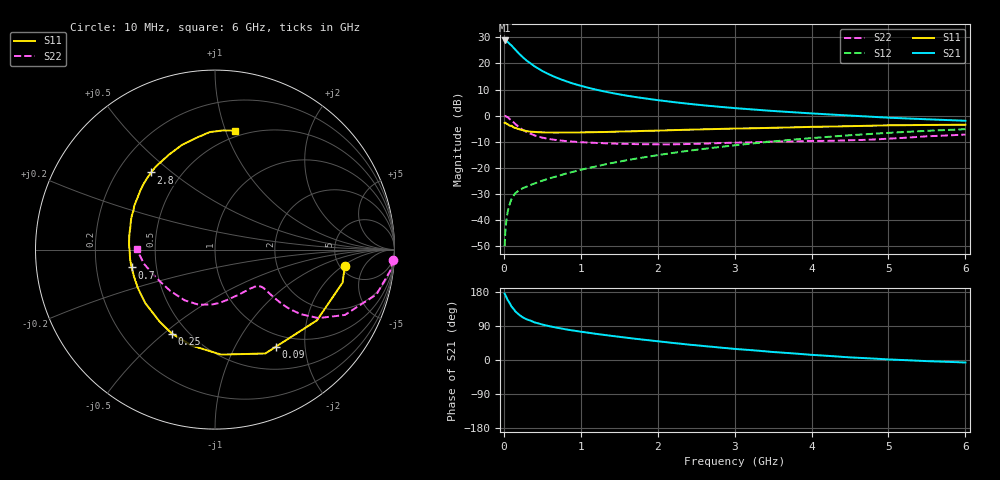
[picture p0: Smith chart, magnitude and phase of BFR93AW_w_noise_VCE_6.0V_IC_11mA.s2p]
! Infineon Technologies  Discrete & RF Semiconductors
! BFR93AW
! VCE =  6.0 V,  IC =  11 mA
! Common Emitter S-Parameters:  Jan 2017
# GHz  S  MA  R  50
!  f  S11  S21  S12  S22
! GHz  MAG  ANG  MAG  ANG  MAG  ANG  MAG  ANG
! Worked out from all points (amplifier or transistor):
!   77 points, 10 MHz to 6 GHz, reference 50 ohm
!   highest |S21| = 28.8 dB at 10 MHz (marker M1)
!   |S21| within 3 dB of that: start of sweep to 132.9 MHz
!   unconditionally stable (mu >= 1): 837.7 MHz to 2.099 GHz
!   at 130 MHz: K = 0.32, MSG = 28.1 dB, |S12| = -30.4 dB
!   at 2.2 GHz: K = 0.99, MSG = 9.7 dB, |S12| = -14.2 dB
!   at 6 GHz: K = 0.87, MSG = 1.6 dB, |S12| = -5.2 dB
!   lowest NFmin = 1.26 dB at 450 MHz
!   S11 on the Smith chart (normalised r, x): 10 MHz: 5.50, -2.18; 90 MHz: 0.81, -1.48; 250 MHz: 0.41, -0.53; 700 MHz: 0.36, -0.09; 2.8 GHz: 0.34, +0.43; 6 GHz: 0.45, +1.08
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0.01  0.7294 -7.3  27.45 175.3  0.0032 86.9  0.9927 -3.2
0.02  0.7342 -14.5  27.41 171.1  0.0063 89.1  0.9855 -6.6
0.05  0.6913 -34.8  25.81 158.3  0.0146 72.5  0.9338 -15.5
0.09  0.6386 -58.1  22.58 144.8  0.0234 64.5  0.8322 -24.2
0.1  0.6431 -64.2  22.01 140.9  0.0256 63.4  0.8102 -26.7
0.15  0.5858 -86.7  18.27 128.2  0.0331 57.2  0.6911 -33.5
0.2  0.5499 -103.9  15.24 119.1  0.0375 54.6  0.6002 -36.9
0.25  0.5262 -117.1  12.97 112.1  0.0414 52.1  0.5332 -38.5
0.3  0.5064 -127.5  11.19 107.0  0.0442 52.1  0.482 -39.1
0.4  0.4897 -142.4  8.768 99.2  0.0507 53.4  0.419 -39.1
0.5  0.4804 -153.2  7.152 93.5  0.0572 55.2  0.3802 -38.7
0.6  0.4756 -161.5  6.048 88.8  0.0638 57.6  0.3558 -38.4
0.7  0.4753 -167.9  5.224 84.9  0.07 59.6  0.3398 -38.4
0.9  0.4755 -178.5  4.111 77.8  0.0846 61.9  0.3192 -39.7
1.1  0.4819 173.2  3.415 71.9  0.1001 63.8  0.307 -42.0
1.5  0.4971 160.1  2.558 61.2  0.1323 65.1  0.2905 -49.5
2.1  0.5234 144.4  1.902 47.3  0.1851 64.2  0.2832 -65.7
2.8  0.558 129.6  1.481 33.0  0.2513 60.2  0.2995 -86.8
3.1  0.5705 123.7  1.362 27.8  0.2812 57.7  0.3069 -95.3
4.1  0.6148 105.8  1.085 12.4  0.3828 48.1  0.3289 -124.2
5.1  0.6566 91.3  0.903 0.6  0.4786 36.6  0.3698 -157.6
6  0.6723 80.3  0.8 -6.6  0.5522 25.7  0.4363 179.6
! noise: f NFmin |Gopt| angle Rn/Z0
0.45  1.26  0.12  111  0.13
0.9  1.57  0.23  157  0.14
1.9  2.62  0.47  -146  0.18
2.4  3.24  0.54  -130  0.37
